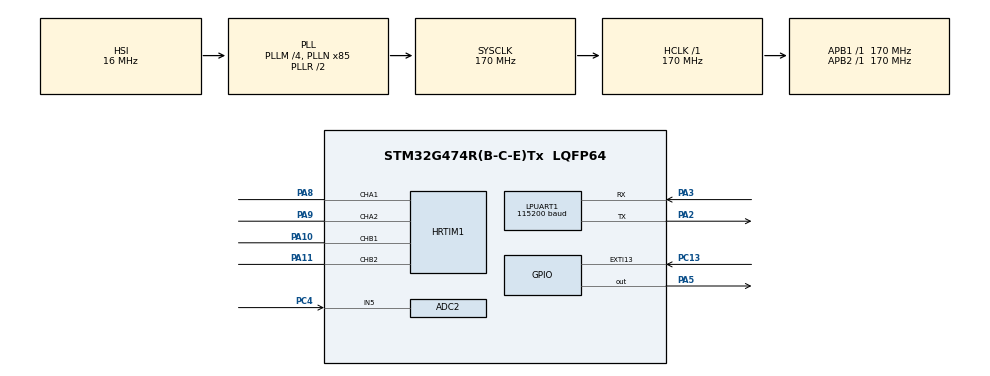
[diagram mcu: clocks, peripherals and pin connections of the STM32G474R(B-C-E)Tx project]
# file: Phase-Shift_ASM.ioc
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ADC2.ClockPrescaler=ADC_CLOCK_ASYNC_DIV2
ADC2.ContinuousConvMode=DISABLE
ADC2.EnableInjectedConversion=ENABLE
ADC2.EnableRegularConversion=DISABLE
ADC2.ExternalTrigInjecConv=ADC_EXTERNALTRIGINJEC_HRTIM_TRG2
ADC2.InjNumberOfConversion=1
ADC2.InjectedChannel-3\#ChannelInjectedConversion=ADC_CHANNEL_5
ADC2.InjectedOffsetNumber-3\#ChannelInjectedConversion=ADC_OFFSET_NONE
ADC2.InjectedRank-3\#ChannelInjectedConversion=1
ADC2.InjectedSamplingTime-3\#ChannelInjectedConversion=ADC_SAMPLETIME_2CYCLES_5
ADC2.Overrun=ADC_OVR_DATA_OVERWRITTEN
ADC2.Rank1_Channel=ADC_CHANNEL_5
ADC2.injectedQueueMode=DISABLE
HRTIM1.ADCTrigger1_Source1=HRTIM_ADCTRIGGEREVENT13_MASTER_PERIOD
HRTIM1.ADCTrigger2_Source1=HRTIM_ADCTRIGGEREVENT24_TIMERA_PERIOD
HRTIM1.ADCTrigger_Id1=__NULL
HRTIM1.ADCTrigger_Id2=HRTIM_ADCTRIGGER_2
HRTIM1.CompareUnit1-MasterTimer=HRTIM_COMPAREUNIT_1
HRTIM1.CompareUnit1-Output_TA1TA2=HRTIM_COMPAREUNIT_1
HRTIM1.CompareUnit1-Output_TB1TB2=HRTIM_COMPAREUNIT_1
HRTIM1.CompareUnit2-MasterTimer=HRTIM_COMPAREUNIT_2
HRTIM1.CompareValue1-MasterTimer=16
HRTIM1.CompareValue2-MasterTimer=54400/4
HRTIM1.DeadTimeInsertion-Output_TA1TA2=HRTIM_TIMDEADTIMEINSERTION_ENABLED
HRTIM1.DeadTimeInsertion-Output_TB1TB2=HRTIM_TIMDEADTIMEINSERTION_ENABLED
HRTIM1.FallingValue-Output_TA1TA2=500
HRTIM1.FallingValue-Output_TB1TB2=500
HRTIM1.InterleavedMode-Output_TA1TA2=HRTIM_INTERLEAVED_MODE_DUAL
HRTIM1.InterleavedMode-Output_TB1TB2=HRTIM_INTERLEAVED_MODE_DUAL
HRTIM1.InterruptRequests1-Output_TA1TA2=HRTIM_TIM_IT_SET1
HRTIM1.InterruptRequests1_Master=HRTIM_MASTER_IT_MREP
HRTIM1.ModeTimeBase-Output_TA1TA2=HRTIM_MODE_SINGLESHOT_RETRIGGERABLE
HRTIM1.ModeTimeBase-Output_TB1TB2=HRTIM_MODE_SINGLESHOT_RETRIGGERABLE
HRTIM1.NumberADCTriggerSource1=1
HRTIM1.NumberADCTriggerSource2=1
HRTIM1.NumberInterruptRequests-Output_TA1TA2=0
HRTIM1.NumberInterruptRequests_Master-MasterTimer=1
HRTIM1.NumberResetSource1-Output_TA1TA2=1
HRTIM1.NumberResetSource1-Output_TB1TB2=1
HRTIM1.NumberResetTrigger-Output_TA1TA2=0
HRTIM1.NumberResetTrigger-Output_TB1TB2=1
HRTIM1.NumberSetSource1-Output_TA1TA2=1
HRTIM1.NumberSetSource1-Output_TB1TB2=1
HRTIM1.Periode_MASTER=54400
HRTIM1.Periode_TA=54400
HRTIM1.Periode_TB=54400
HRTIM1.PreloadEnable-MasterTimer=HRTIM_PRELOAD_ENABLED
HRTIM1.PrescalerDead-Output_TA1TA2=HRTIM_TIMDEADTIME_PRESCALERRATIO_MUL2
HRTIM1.PrescalerDead-Output_TB1TB2=HRTIM_TIMDEADTIME_PRESCALERRATIO_MUL2
HRTIM1.PrescalerRatio_MASTER=HRTIM_PRESCALERRATIO_MUL16
HRTIM1.PrescalerRatio_TA=HRTIM_PRESCALERRATIO_MUL16
HRTIM1.PrescalerRatio_TB=HRTIM_PRESCALERRATIO_MUL16
HRTIM1.RepetitionCounter-MasterTimer=2
HRTIM1.RepetitionCounter-Output_TA1TA2=0
HRTIM1.RepetitionCounter-Output_TB1TB2=0
HRTIM1.RepetitionUpdate-MasterTimer=HRTIM_UPDATEONREPETITION_ENABLED
HRTIM1.RepetitionUpdate-Output_TA1TA2=HRTIM_UPDATEONREPETITION_DISABLED
HRTIM1.ResetOutput1_Source1-Output_TA1TA2=HRTIM_OUTPUTRESET_TIMCMP1
HRTIM1.ResetOutput1_Source1-Output_TB1TB2=HRTIM_OUTPUTRESET_TIMCMP1
HRTIM1.ResetTrigger1-Output_TA1TA2=HRTIM_TIMRESETTRIGGER_MASTER_PER
HRTIM1.ResetTrigger1-Output_TB1TB2=HRTIM_TIMRESETTRIGGER_MASTER_CMP1
HRTIM1.RisingValue-Output_TA1TA2=500
HRTIM1.RisingValue-Output_TB1TB2=500
HRTIM1.SetOutput1_Source1-Output_TA1TA2=HRTIM_OUTPUTSET_MASTERPER
HRTIM1.SetOutput1_Source1-Output_TB1TB2=HRTIM_OUTPUTSET_MASTERCMP1
HRTIM1.Timeout=100
HRTIM1.postscaler1=10
HRTIM1.postscaler2=0
LPUART1.BaudRate=115200
LPUART1.WordLength=UART_WORDLENGTH_8B
Mcu.Family=STM32G4
Mcu.Name=STM32G474R(B-C-E)Tx
Mcu.Package=LQFP64
NVIC.HRTIM1_Master_IRQn=true\:0\:0\:false\:false\:true\:true\:true
NVIC.PriorityGroup=NVIC_PRIORITYGROUP_4
PA10.Mode=Output_TB1TB2
PA10.Signal=HRTIM1_CHB1
PA11.Mode=Output_TB1TB2
PA11.Signal=HRTIM1_CHB2
PA13.Mode=Trace_Asynchronous_SW
PA13.Signal=SYS_JTMS-SWDIO
PA14.Mode=Trace_Asynchronous_SW
PA14.Signal=SYS_JTCK-SWCLK
PA2.GPIO_Mode=GPIO_MODE_AF_PP
PA2.GPIO_PuPd=GPIO_NOPULL
PA2.GPIO_Speed=GPIO_SPEED_FREQ_LOW
PA2.Mode=Asynchronous
PA2.Signal=LPUART1_TX
PA3.GPIO_Mode=GPIO_MODE_AF_PP
PA3.GPIO_PuPd=GPIO_NOPULL
PA3.GPIO_Speed=GPIO_SPEED_FREQ_LOW
PA3.Mode=Asynchronous
PA3.Signal=LPUART1_RX
PA5.GPIO_ModeDefaultOutputPP=GPIO_MODE_OUTPUT_PP
PA5.GPIO_PuPd=GPIO_NOPULL
PA5.GPIO_Speed=GPIO_SPEED_FREQ_LOW
PA5.PinState=GPIO_PIN_RESET
PA5.Signal=GPIO_Output
PA8.Mode=Output_TA1TA2
PA8.Signal=HRTIM1_CHA1
PA9.Mode=Output_TA1TA2
PA9.Signal=HRTIM1_CHA2
PB3.Mode=Trace_Asynchronous_SW
PB3.Signal=SYS_JTDO-SWO
PC13.GPIO_ModeDefaultEXTI=GPIO_MODE_IT_RISING
PC13.GPIO_PuPd=GPIO_NOPULL
PC13.Signal=GPXTI13
PC14-OSC32_IN.Mode=LSE-External-Oscillator
PC14-OSC32_IN.Signal=RCC_OSC32_IN
PC15-OSC32_OUT.Mode=LSE-External-Oscillator
PC15-OSC32_OUT.Signal=RCC_OSC32_OUT
PC4.Mode=IN5-Single-Ended
PC4.Signal=ADC2_IN5
PF0-OSC_IN.Mode=HSE-External-Oscillator
PF0-OSC_IN.Signal=RCC_OSC_IN
PF1-OSC_OUT.Mode=HSE-External-Oscillator
PF1-OSC_OUT.Signal=RCC_OSC_OUT
ProjectManager.HeapSize=0x200
ProjectManager.StackSize=0x400
ProjectManager.TargetToolchain=STM32CubeIDE
RCC.ADC12Freq_Value=170000000
RCC.ADC345Freq_Value=170000000
RCC.AHBFreq_Value=170000000
RCC.APB1Freq_Value=170000000
RCC.APB1TimFreq_Value=170000000
RCC.APB2Freq_Value=170000000
RCC.APB2TimFreq_Value=170000000
RCC.CortexFreq_Value=170000000
RCC.EXTERNAL_CLOCK_VALUE=12288000
RCC.HCLKFreq_Value=170000000
RCC.HSE_VALUE=24000000
RCC.HSI48_VALUE=48000000
RCC.HSI_VALUE=16000000
RCC.PLLM=RCC_PLLM_DIV4
RCC.PLLN=85
RCC.RTCClockSelection=RCC_RTCCLKSOURCE_LSE
RCC.SYSCLKFreq_VALUE=170000000
RCC.SYSCLKSource=RCC_SYSCLKSOURCE_PLLCLK
RCC.USBFreq_Value=170000000
RCC.VCOOutputFreq_Value=340000000
VP_HRTIM1_VS_hrtimMasterTimerNoOutput.Mode=MasterTimer
VP_SYS_VS_DBSignals.Mode=DisableDeadBatterySignals
board=NUCLEO-G474RE

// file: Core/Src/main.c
/* USER CODE END Header */

#include "main.h"

/* USER CODE BEGIN PD */

// use and comment only one VOUT_TARGET
#define VOUT_TARGET_V   3 // in Volts
//#define VOUT_TARGET_mV  3000 // in mV
#define VREF  3300 // mV
#define RUP   2000 // ohms
#define RDOWN 2000 // ohms
//#define MAX_PHASE 27200 // half of the period
#define MAX_PHASE 26500
#define MIN_PHASE 16
#define SAT_LIMIT 21888
#define NUM_REPETITION 0

/* USER CODE END PD */

ADC_HandleTypeDef hadc2;

HRTIM_HandleTypeDef hhrtim1;

UART_HandleTypeDef hlpuart1;

/* USER CODE BEGIN PV */

volatile int32_t VoutFeedback_32bit;
volatile int16_t VoutFeedback, VoutTarget;
volatile uint16_t VoutMeasured;
static uint16_t phase_cntr, debug_phase;
static int32_t Kp;
static int32_t Ki;
static int32_t Kd;
static int8_t operationmode, direction = 0, repetition_cntr = 0;
static int32_t Int_term_Buck;
static uint32_t CTMin;
static uint32_t CTMax;
//volatile uint32_t VoutConversion;

volatile int32_t seterr, pid_out, pid_out_last, pid_out_diff;
volatile int32_t error, errorProp;
volatile int32_t last_error;
volatile int32_t errorSum;
volatile int32_t errorRate;
//uint16_t SPI_msg[5];

/* USER CODE END PV */

void SystemClock_Config(void);
static void MX_GPIO_Init(void);
static void MX_LPUART1_UART_Init(void);
static void MX_HRTIM1_Init(void);
static void MX_ADC2_Init(void);
/* USER CODE BEGIN PFP */

static void HRTIM1_Start_Output(void);

/* USER CODE END PFP */

int main(void)
{

  /* MCU Configuration--------------------------------------------------------*/

  /* Reset of all peripherals, Initializes the Flash interface and the Systick. */
  HAL_Init();

  /* Configure the system clock */
  SystemClock_Config();

  /* Initialize all configured peripherals */
  MX_GPIO_Init();
  MX_LPUART1_UART_Init();
  MX_HRTIM1_Init();
  MX_ADC2_Init();
  /* USER CODE BEGIN 2 */

#ifdef VOUT_TARGET_mV
  {
	  VoutFeedback_32bit = (uint16_t) (VOUT_TARGET_mV * RDOWN / ( RUP + RDOWN ));
	  VoutFeedback_32bit = (VoutFeedback_32bit * 0x1000 ) / VREF;
	  VoutFeedback = (uint16_t) VoutFeedback_32bit ;
  }
#else
  {
	  VoutFeedback_32bit = (uint16_t) (VOUT_TARGET_V * 1000 * RDOWN / ( RUP + RDOWN ));
	  VoutFeedback_32bit = (VoutFeedback_32bit * 0x1000 ) / VREF;
	  VoutFeedback = (uint16_t) VoutFeedback_32bit ;
  }
#endif

  if (VoutFeedback >= 2482)
  	  while(1)
  		  {
			  HAL_GPIO_TogglePin(GPIOA, GPIO_PIN_5);
			  HAL_Delay(300);
  		  }

  /* Reset integral terms for PI */
  Int_term_Buck = 0;

  /* Reset Counters Min and Max */
  CTMax = 0;
  CTMin = 0;

  /* Set Proportional and Integral constant terms*/
  Ki = 1;
  Kp = 100;
  Kd = 100;

  phase_cntr = 16; // min phase

  // 1.6kW Main Board
  //debug_phase = 1090; // 120V @ 1mA
  //debug_phase = 1590; // 100V @ 50mA
  //debug_phase = 2590; // 108V @ 100mA
  //debug_phase = 3590; // 108V @ 100mA
  //debug_phase = 4590; // 148V @ 150mA
  //debug_phase = 5590; // 130V @ 200mA
  //debug_phase = 7590; // 143V @ 300mA
  //debug_phase = 10590; // 181V @ 500mA
  //debug_phase = 13590; // 227V @ 500mA, 176V @ 600mA
  //debug_phase = 15000; // 192V @ 600mA, ADC = 2616
  //debug_phase = 17000; // 201V @ 1200mA, 193V @ 2000mA, 188V @ 2500mA, 183V @ 3A
					   // 174V @ 4A, 165V @ 5A, 155V @ 6A
  	  	  	  	  	   // 180V = 1890 @ 3.24A
  	  	  	  	  	   // 170V = 1520 @ 4.31A
  	  	  	  	  	   // 190V = 2535 @ 2.26A
  //debug_phase = 20000; // 241V @ 1A, 181V @ 7A, 171V @ 8A
  	  	  	  	  	   // 236V = 3100 @ 1.4A
  	  	  	  	  	   // 220V = 3077 @ 3.0A
  	  	  	  	  	   // 190V = 2700 @ 6A
  	  	  	  	  	   // 180V = 2400 @ 7A
  //VoutTarget = 2400; // 180

  // Low power Board
  /*
  debug_phase = 3000; // Vout = 259mV / Vfeed = 129mV (150)
  debug_phase = 10000; // Vout = 2.24V / Vfeed = 1.12V (1348)
  debug_phase = 13000; // Vout = 3.20V / Vfeed = 1.61V (1928)
  debug_phase = 15000; // Vout = 3.92V / Vfeed = 1.96V (2389)
  debug_phase = 16000; // Vout = 4.30V / Vfeed = 2.14V (2616)
  debug_phase = 17000; // Vout = 4.70V / Vfeed = 2.33V (2849)
  debug_phase = 19000; // Vout = 5.44V / Vfeed = 2.71V (3355)
  debug_phase = 20000; // Vout = 5.88V / Vfeed = 2.88V (3627)
  VoutTarget = 1948; // 3.07V
  VoutTarget = 2022; // 3.16V
  VoutTarget = 2333; // 3.66V
  VoutTarget = 2389; // 3.89
  VoutTarget = 2740; // 4.4V
  VoutTarget = 2828; // 4.52V
  VoutTarget = 2849; // 4.64
  VoutTarget = 3049; // 4.64
  VoutTarget = 3009; // 4.76V
  VoutTarget = 3157; // 5.00V
  VoutTarget = 3196; // 5.11V
  VoutTarget = 3215; // 5.16V
  */

  /*
  operationmode == 0 // start-up
  operationmode == 1 // close loop, dont use
  operationmode == 2 // start up until vfeed
  operationmode == 3 // debug = slowly increase duty/phase until a certain value
  operationmode == 4 // debug = fix dutycycle/phase
  operationmode == 9 // phase up/down
  */
  operationmode = 9;

  debug_phase = 16; // start and minimum, already in the IOC
  VoutTarget = 3157; // 5.00V
  VoutTarget = 1948; // 3.07V

  HRTIM1_Start_Output();

  HAL_Delay(5000);
  //debug_phase = 21800; // Vout = 5.88V / Vfeed = 2.88V (3627)

  /* USER CODE END 2 */

  /* Infinite loop */
  while (1)
  {

  }
}

void SystemClock_Config(void)
{
  RCC_OscInitTypeDef RCC_OscInitStruct = {0};
  RCC_ClkInitTypeDef RCC_ClkInitStruct = {0};
  RCC_PeriphCLKInitTypeDef PeriphClkInit = {0};

  /** Configure the main internal regulator output voltage
  */
  HAL_PWREx_ControlVoltageScaling(PWR_REGULATOR_VOLTAGE_SCALE1_BOOST);
  /** Initializes the CPU, AHB and APB busses clocks
  */
  RCC_OscInitStruct.OscillatorType = RCC_OSCILLATORTYPE_HSI;
  RCC_OscInitStruct.HSIState = RCC_HSI_ON;
  RCC_OscInitStruct.HSICalibrationValue = RCC_HSICALIBRATION_DEFAULT;
  RCC_OscInitStruct.PLL.PLLState = RCC_PLL_ON;
  RCC_OscInitStruct.PLL.PLLSource = RCC_PLLSOURCE_HSI;
  RCC_OscInitStruct.PLL.PLLM = RCC_PLLM_DIV4;
  RCC_OscInitStruct.PLL.PLLN = 85;
  RCC_OscInitStruct.PLL.PLLP = RCC_PLLP_DIV2;
  RCC_OscInitStruct.PLL.PLLQ = RCC_PLLQ_DIV2;
  RCC_OscInitStruct.PLL.PLLR = RCC_PLLR_DIV2;
  if (HAL_RCC_OscConfig(&RCC_OscInitStruct) != HAL_OK)
  {
    Error_Handler();
  }
  /** Initializes the CPU, AHB and APB busses clocks
  */
  RCC_ClkInitStruct.ClockType = RCC_CLOCKTYPE_HCLK|RCC_CLOCKTYPE_SYSCLK
                              |RCC_CLOCKTYPE_PCLK1|RCC_CLOCKTYPE_PCLK2;
  RCC_ClkInitStruct.SYSCLKSource = RCC_SYSCLKSOURCE_PLLCLK;
  RCC_ClkInitStruct.AHBCLKDivider = RCC_SYSCLK_DIV1;
  RCC_ClkInitStruct.APB1CLKDivider = RCC_HCLK_DIV1;
  RCC_ClkInitStruct.APB2CLKDivider = RCC_HCLK_DIV1;

  if (HAL_RCC_ClockConfig(&RCC_ClkInitStruct, FLASH_LATENCY_8) != HAL_OK)
  {
    Error_Handler();
  }
  /** Initializes the peripherals clocks
  */
  PeriphClkInit.PeriphClockSelection = RCC_PERIPHCLK_LPUART1|RCC_PERIPHCLK_ADC12;
  PeriphClkInit.Lpuart1ClockSelection = RCC_LPUART1CLKSOURCE_PCLK1;
  PeriphClkInit.Adc12ClockSelection = RCC_ADC12CLKSOURCE_SYSCLK;
  if (HAL_RCCEx_PeriphCLKConfig(&PeriphClkInit) != HAL_OK)
  {
    Error_Handler();
  }
}

static void MX_ADC2_Init(void)
{

  ADC_InjectionConfTypeDef sConfigInjected = {0};

  /** Common config
  */
  hadc2.Instance = ADC2;
  hadc2.Init.ClockPrescaler = ADC_CLOCK_ASYNC_DIV4;
  hadc2.Init.Resolution = ADC_RESOLUTION_12B;
  hadc2.Init.DataAlign = ADC_DATAALIGN_RIGHT;
  hadc2.Init.GainCompensation = 0;
  hadc2.Init.ScanConvMode = ADC_SCAN_DISABLE;
  hadc2.Init.EOCSelection = ADC_EOC_SINGLE_CONV;
  hadc2.Init.LowPowerAutoWait = DISABLE;
  hadc2.Init.ContinuousConvMode = DISABLE;
  hadc2.Init.NbrOfConversion = 1;
  hadc2.Init.DiscontinuousConvMode = DISABLE;
  hadc2.Init.DMAContinuousRequests = DISABLE;
  hadc2.Init.Overrun = ADC_OVR_DATA_OVERWRITTEN;
  hadc2.Init.OversamplingMode = DISABLE;
  if (HAL_ADC_Init(&hadc2) != HAL_OK)
  {
    Error_Handler();
  }
  /** Configure Injected Channel
  */
  sConfigInjected.InjectedChannel = ADC_CHANNEL_5;
  sConfigInjected.InjectedRank = ADC_INJECTED_RANK_1;
  sConfigInjected.InjectedSamplingTime = ADC_SAMPLETIME_2CYCLES_5;
  sConfigInjected.InjectedSingleDiff = ADC_SINGLE_ENDED;
  sConfigInjected.InjectedOffsetNumber = ADC_OFFSET_NONE;
  sConfigInjected.InjectedOffset = 0;
  sConfigInjected.InjectedNbrOfConversion = 1;
  sConfigInjected.InjectedDiscontinuousConvMode = DISABLE;
  sConfigInjected.AutoInjectedConv = DISABLE;
  sConfigInjected.QueueInjectedContext = DISABLE;
  sConfigInjected.ExternalTrigInjecConv = ADC_EXTERNALTRIGINJEC_HRTIM_TRG2;
  sConfigInjected.ExternalTrigInjecConvEdge = ADC_EXTERNALTRIGINJECCONV_EDGE_RISING;
  sConfigInjected.InjecOversamplingMode = DISABLE;
  if (HAL_ADCEx_InjectedConfigChannel(&hadc2, &sConfigInjected) != HAL_OK)
  {
    Error_Handler();
  }
  /* USER CODE BEGIN ADC2_Init 2 */

  /* Run the ADC calibration in single-ended mode */
  HAL_ADCEx_Calibration_Start(&hadc2, ADC_SINGLE_ENDED);
  /* Start ADC1 Injected Conversions */
  HAL_ADCEx_InjectedStart_IT(&hadc2);

  /* USER CODE END ADC2_Init 2 */

}

static void MX_HRTIM1_Init(void)
{

  HRTIM_ADCTriggerCfgTypeDef pADCTriggerCfg = {0};
  HRTIM_TimeBaseCfgTypeDef pTimeBaseCfg = {0};
  HRTIM_TimerCfgTypeDef pTimerCfg = {0};
  HRTIM_CompareCfgTypeDef pCompareCfg = {0};
  HRTIM_TimerCtlTypeDef pTimerCtl = {0};
  HRTIM_DeadTimeCfgTypeDef pDeadTimeCfg = {0};
  HRTIM_OutputCfgTypeDef pOutputCfg = {0};

  hhrtim1.Instance = HRTIM1;
  hhrtim1.Init.HRTIMInterruptResquests = HRTIM_IT_NONE;
  hhrtim1.Init.SyncOptions = HRTIM_SYNCOPTION_NONE;
  if (HAL_HRTIM_Init(&hhrtim1) != HAL_OK)
  {
    Error_Handler();
  }
  if (HAL_HRTIM_DLLCalibrationStart(&hhrtim1, HRTIM_CALIBRATIONRATE_3) != HAL_OK)
  {
    Error_Handler();
  }
  if (HAL_HRTIM_PollForDLLCalibration(&hhrtim1, 100) != HAL_OK)
  {
    Error_Handler();
  }
  pADCTriggerCfg.UpdateSource = HRTIM_ADCTRIGGERUPDATE_MASTER;
  pADCTriggerCfg.Trigger = HRTIM_ADCTRIGGEREVENT24_MASTER_CMP2;
  if (HAL_HRTIM_ADCTriggerConfig(&hhrtim1, HRTIM_ADCTRIGGER_2, &pADCTriggerCfg) != HAL_OK)
  {
    Error_Handler();
  }
  if (HAL_HRTIM_ADCPostScalerConfig(&hhrtim1, HRTIM_ADCTRIGGER_2, 0) != HAL_OK)
  {
    Error_Handler();
  }
  pTimeBaseCfg.Period = 54400;
  pTimeBaseCfg.RepetitionCounter = 1;
  pTimeBaseCfg.PrescalerRatio = HRTIM_PRESCALERRATIO_MUL16;
  pTimeBaseCfg.Mode = HRTIM_MODE_CONTINUOUS;
  if (HAL_HRTIM_TimeBaseConfig(&hhrtim1, HRTIM_TIMERINDEX_MASTER, &pTimeBaseCfg) != HAL_OK)
  {
    Error_Handler();
  }
  pTimerCfg.InterruptRequests = HRTIM_MASTER_IT_MREP;
  pTimerCfg.DMARequests = HRTIM_MASTER_DMA_NONE;
  pTimerCfg.DMASrcAddress = 0x0000;
  pTimerCfg.DMADstAddress = 0x0000;
  pTimerCfg.DMASize = 0x1;
  pTimerCfg.HalfModeEnable = HRTIM_HALFMODE_DISABLED;
  pTimerCfg.InterleavedMode = HRTIM_INTERLEAVED_MODE_DISABLED;
  pTimerCfg.StartOnSync = HRTIM_SYNCSTART_DISABLED;
  pTimerCfg.ResetOnSync = HRTIM_SYNCRESET_DISABLED;
  pTimerCfg.DACSynchro = HRTIM_DACSYNC_NONE;
  pTimerCfg.PreloadEnable = HRTIM_PRELOAD_DISABLED;
  pTimerCfg.UpdateGating = HRTIM_UPDATEGATING_INDEPENDENT;
  pTimerCfg.BurstMode = HRTIM_TIMERBURSTMODE_MAINTAINCLOCK;
  pTimerCfg.RepetitionUpdate = HRTIM_UPDATEONREPETITION_ENABLED;
  pTimerCfg.ReSyncUpdate = HRTIM_TIMERESYNC_UPDATE_UNCONDITIONAL;
  if (HAL_HRTIM_WaveformTimerConfig(&hhrtim1, HRTIM_TIMERINDEX_MASTER, &pTimerCfg) != HAL_OK)
  {
    Error_Handler();
  }
  pCompareCfg.CompareValue = 16;
  if (HAL_HRTIM_WaveformCompareConfig(&hhrtim1, HRTIM_TIMERINDEX_MASTER, HRTIM_COMPAREUNIT_1, &pCompareCfg) != HAL_OK)
  {
    Error_Handler();
  }
  pCompareCfg.CompareValue = 1000;
  if (HAL_HRTIM_WaveformCompareConfig(&hhrtim1, HRTIM_TIMERINDEX_MASTER, HRTIM_COMPAREUNIT_2, &pCompareCfg) != HAL_OK)
  {
    Error_Handler();
  }
  pTimeBaseCfg.RepetitionCounter = 0;
  if (HAL_HRTIM_TimeBaseConfig(&hhrtim1, HRTIM_TIMERINDEX_TIMER_A, &pTimeBaseCfg) != HAL_OK)
  {
    Error_Handler();
  }
  pTimerCtl.UpDownMode = HRTIM_TIMERUPDOWNMODE_UP;
  pTimerCtl.GreaterCMP1 = HRTIM_TIMERGTCMP1_EQUAL;
  pTimerCtl.DualChannelDacEnable = HRTIM_TIMER_DCDE_DISABLED;
  if (HAL_HRTIM_WaveformTimerControl(&hhrtim1, HRTIM_TIMERINDEX_TIMER_A, &pTimerCtl) != HAL_OK)
  {
    Error_Handler();
  }
  pTimerCfg.InterruptRequests = HRTIM_TIM_IT_NONE;
  pTimerCfg.DMARequests = HRTIM_TIM_DMA_NONE;
  pTimerCfg.DMASrcAddress = 0x0000;
  pTimerCfg.DMADstAddress = 0x0000;
  pTimerCfg.DMASize = 0x1;
  pTimerCfg.InterleavedMode = HRTIM_INTERLEAVED_MODE_DUAL;
  pTimerCfg.PushPull = HRTIM_TIMPUSHPULLMODE_DISABLED;
  pTimerCfg.FaultEnable = HRTIM_TIMFAULTENABLE_NONE;
  pTimerCfg.FaultLock = HRTIM_TIMFAULTLOCK_READWRITE;
  pTimerCfg.DeadTimeInsertion = HRTIM_TIMDEADTIMEINSERTION_ENABLED;
  pTimerCfg.DelayedProtectionMode = HRTIM_TIMER_A_B_C_DELAYEDPROTECTION_DISABLED;
  pTimerCfg.UpdateTrigger = HRTIM_TIMUPDATETRIGGER_NONE;
  pTimerCfg.ResetTrigger = HRTIM_TIMRESETTRIGGER_MASTER_PER;
  pTimerCfg.ResetUpdate = HRTIM_TIMUPDATEONRESET_ENABLED;
  if (HAL_HRTIM_WaveformTimerConfig(&hhrtim1, HRTIM_TIMERINDEX_TIMER_A, &pTimerCfg) != HAL_OK)
  {
    Error_Handler();
  }
  pTimerCfg.DMASrcAddress = 0x0000;
  pTimerCfg.DMADstAddress = 0x0000;
  pTimerCfg.DMASize = 0x1;
  pTimerCfg.ResetTrigger = HRTIM_TIMRESETTRIGGER_MASTER_PER|HRTIM_TIMRESETTRIGGER_MASTER_CMP1;
  if (HAL_HRTIM_WaveformTimerConfig(&hhrtim1, HRTIM_TIMERINDEX_TIMER_B, &pTimerCfg) != HAL_OK)
  {
    Error_Handler();
  }
  pDeadTimeCfg.Prescaler = HRTIM_TIMDEADTIME_PRESCALERRATIO_MUL4;
  pDeadTimeCfg.RisingValue = 500;
  pDeadTimeCfg.RisingSign = HRTIM_TIMDEADTIME_RISINGSIGN_POSITIVE;
  pDeadTimeCfg.RisingLock = HRTIM_TIMDEADTIME_RISINGLOCK_WRITE;
  pDeadTimeCfg.RisingSignLock = HRTIM_TIMDEADTIME_RISINGSIGNLOCK_WRITE;
  pDeadTimeCfg.FallingValue = 500;
  pDeadTimeCfg.FallingSign = HRTIM_TIMDEADTIME_FALLINGSIGN_POSITIVE;
  pDeadTimeCfg.FallingLock = HRTIM_TIMDEADTIME_FALLINGLOCK_WRITE;
  pDeadTimeCfg.FallingSignLock = HRTIM_TIMDEADTIME_FALLINGSIGNLOCK_WRITE;
  if (HAL_HRTIM_DeadTimeConfig(&hhrtim1, HRTIM_TIMERINDEX_TIMER_A, &pDeadTimeCfg) != HAL_OK)
  {
    Error_Handler();
  }
  if (HAL_HRTIM_DeadTimeConfig(&hhrtim1, HRTIM_TIMERINDEX_TIMER_B, &pDeadTimeCfg) != HAL_OK)
  {
    Error_Handler();
  }
  pOutputCfg.Polarity = HRTIM_OUTPUTPOLARITY_HIGH;
  pOutputCfg.SetSource = HRTIM_OUTPUTSET_TIMPER;
  pOutputCfg.ResetSource = HRTIM_OUTPUTRESET_TIMCMP1;
  pOutputCfg.IdleMode = HRTIM_OUTPUTIDLEMODE_NONE;
  pOutputCfg.IdleLevel = HRTIM_OUTPUTIDLELEVEL_INACTIVE;
  pOutputCfg.FaultLevel = HRTIM_OUTPUTFAULTLEVEL_NONE;
  pOutputCfg.ChopperModeEnable = HRTIM_OUTPUTCHOPPERMODE_DISABLED;
  pOutputCfg.BurstModeEntryDelayed = HRTIM_OUTPUTBURSTMODEENTRY_REGULAR;
  if (HAL_HRTIM_WaveformOutputConfig(&hhrtim1, HRTIM_TIMERINDEX_TIMER_A, HRTIM_OUTPUT_TA1, &pOutputCfg) != HAL_OK)
  {
    Error_Handler();
  }
  pOutputCfg.SetSource = HRTIM_OUTPUTSET_MASTERCMP1;
  if (HAL_HRTIM_WaveformOutputConfig(&hhrtim1, HRTIM_TIMERINDEX_TIMER_B, HRTIM_OUTPUT_TB1, &pOutputCfg) != HAL_OK)
  {
    Error_Handler();
  }
  pOutputCfg.SetSource = HRTIM_OUTPUTSET_NONE;
  pOutputCfg.ResetSource = HRTIM_OUTPUTRESET_NONE;
  if (HAL_HRTIM_WaveformOutputConfig(&hhrtim1, HRTIM_TIMERINDEX_TIMER_A, HRTIM_OUTPUT_TA2, &pOutputCfg) != HAL_OK)
  {
    Error_Handler();
  }
  if (HAL_HRTIM_WaveformOutputConfig(&hhrtim1, HRTIM_TIMERINDEX_TIMER_B, HRTIM_OUTPUT_TB2, &pOutputCfg) != HAL_OK)
  {
    Error_Handler();
  }
  if (HAL_HRTIM_TimeBaseConfig(&hhrtim1, HRTIM_TIMERINDEX_TIMER_B, &pTimeBaseCfg) != HAL_OK)
  {
    Error_Handler();
  }
  if (HAL_HRTIM_WaveformTimerControl(&hhrtim1, HRTIM_TIMERINDEX_TIMER_B, &pTimerCtl) != HAL_OK)
  {
    Error_Handler();
  }
  HAL_HRTIM_MspPostInit(&hhrtim1);

}

static void MX_LPUART1_UART_Init(void)
{

  hlpuart1.Instance = LPUART1;
  hlpuart1.Init.BaudRate = 115200;
  hlpuart1.Init.WordLength = UART_WORDLENGTH_8B;
  hlpuart1.Init.StopBits = UART_STOPBITS_1;
  hlpuart1.Init.Parity = UART_PARITY_NONE;
  hlpuart1.Init.Mode = UART_MODE_TX_RX;
  hlpuart1.Init.HwFlowCtl = UART_HWCONTROL_NONE;
  hlpuart1.Init.OneBitSampling = UART_ONE_BIT_SAMPLE_DISABLE;
  hlpuart1.AdvancedInit.AdvFeatureInit = UART_ADVFEATURE_NO_INIT;
  if (HAL_UART_Init(&hlpuart1) != HAL_OK)
  {
    Error_Handler();
  }
  if (HAL_UARTEx_SetTxFifoThreshold(&hlpuart1, UART_TXFIFO_THRESHOLD_1_8) != HAL_OK)
  {
    Error_Handler();
  }
  if (HAL_UARTEx_SetRxFifoThreshold(&hlpuart1, UART_RXFIFO_THRESHOLD_1_8) != HAL_OK)
  {
    Error_Handler();
  }
  if (HAL_UARTEx_DisableFifoMode(&hlpuart1) != HAL_OK)
  {
    Error_Handler();
  }

}

static void MX_GPIO_Init(void)
{
  GPIO_InitTypeDef GPIO_InitStruct = {0};

  /* GPIO Ports Clock Enable */
  __HAL_RCC_GPIOC_CLK_ENABLE();
  __HAL_RCC_GPIOF_CLK_ENABLE();
  __HAL_RCC_GPIOA_CLK_ENABLE();
  __HAL_RCC_GPIOB_CLK_ENABLE();

  /*Configure GPIO pin Output Level */
  HAL_GPIO_WritePin(GPIOA, GPIO_PIN_5, GPIO_PIN_RESET);

  /*Configure GPIO pin : PC13 */
  GPIO_InitStruct.Pin = GPIO_PIN_13;
  GPIO_InitStruct.Mode = GPIO_MODE_IT_RISING;
  GPIO_InitStruct.Pull = GPIO_NOPULL;
  HAL_GPIO_Init(GPIOC, &GPIO_InitStruct);

  /*Configure GPIO pin : PA5 */
  GPIO_InitStruct.Pin = GPIO_PIN_5;
  GPIO_InitStruct.Mode = GPIO_MODE_OUTPUT_PP;
  GPIO_InitStruct.Pull = GPIO_NOPULL;
  GPIO_InitStruct.Speed = GPIO_SPEED_FREQ_LOW;
  HAL_GPIO_Init(GPIOA, &GPIO_InitStruct);

}

/* USER CODE BEGIN 4 */

static void HRTIM1_Start_Output(void)
{
	hhrtim1.Instance = HRTIM1;

	HAL_HRTIM_WaveformOutputStart(&hhrtim1, HRTIM_OUTPUT_TA1 | HRTIM_OUTPUT_TA2 | HRTIM_OUTPUT_TB1 | HRTIM_OUTPUT_TB2);
	HAL_HRTIM_WaveformCountStart_IT(&hhrtim1, HRTIM_TIMERID_MASTER | HRTIM_TIMERID_TIMER_A | HRTIM_TIMERID_TIMER_B);

}

int32_t my_PID_Controller(void)
{

  VoutMeasured = HAL_ADCEx_InjectedGetValue(&hadc2, ADC_INJECTED_RANK_1);
  last_error = error;
  error = (uint16_t) VoutTarget - (uint16_t ) VoutMeasured;

  if (operationmode == 0) // start-up
  {
	  phase_cntr++;
	  pid_out = phase_cntr;
	  if (error <= 5)
		  operationmode = 1;
  }

  if (operationmode == 1) // close loop
  {

	errorSum = errorSum + error * 2;
	errorRate = (error - last_error)/2;

	// check if the change is so much to prevent oscillations, see below "pid_out_diff"
	pid_out_last = pid_out;

	// from FW
	seterr = (-Kp * error) / 200;
	Int_term_Buck = Int_term_Buck + ((-Ki * error) / 200);
	pid_out = seterr + Int_term_Buck;

	// check if the change is so much to prevent oscillations, see above "pid_out_last"
	pid_out_diff = pid_out - pid_out_last;

	// this supposedly prevent sudden change in duty/phase
//	    if (pid_out_diff > MAX_DUTY_INC)
//	    {
//	    	pid_out += MAX_DUTY_INC;
//	    } else if (pid_out_diff > MAX_DUTY_INC)
//	    {
//	    	pid_out -= MAX_DUTY_INC;
//	    }

  }

  if (operationmode == 2) // start up until vfeed
  {
	  if (error >= 5)
	  {
		  phase_cntr++;
		  pid_out = phase_cntr;
		  // do not use below
//		  if ( phase_cntr < debug_phase)
//		  {
//			  phase_cntr++;
//			  pid_out = phase_cntr;
//		  }
	  } else
		  while(1);

  }

  if (operationmode == 3) // debug = slowly increase duty/phase until a certain value
  {
	  if ( phase_cntr < debug_phase)
	  {
		  phase_cntr++;
		  pid_out = phase_cntr;
	  }
  }

  if (operationmode == 4) // debug = fix duty cycle/phase
  {
	  pid_out = debug_phase;
  }

  if (operationmode == 9) // phase up/down
  {

	  if (repetition_cntr != NUM_REPETITION)
	  {
		  repetition_cntr++;
	  } else
	  {
		  if (direction == 0)
		  {
			  phase_cntr++;
			  if ( phase_cntr >= MAX_PHASE)
			  {
				  direction = 1;
				  //HAL_HRTIM_WaveformCountStop_IT(&hhrtim1, HRTIM_TIMERID_MASTER | HRTIM_TIMERID_TIMER_A | HRTIM_TIMERID_TIMER_B);
			  }
			  pid_out = phase_cntr;
		  }

		  if (direction == 1)
		  {
			  phase_cntr--;
			  if ( phase_cntr <= MIN_PHASE)
			  {
				  direction = 0;
			  }
			  pid_out = phase_cntr;
		  }

		  repetition_cntr = 0;
	  }
  }

  // DAC debug
//  HAL_DAC_SetValue(&hdac1, DAC_CHANNEL_1, DAC_ALIGN_12B_R, VoutConversion);	// PA4
//  HAL_DAC_SetValue(&hdac1, DAC_CHANNEL_2, DAC_ALIGN_12B_R, pid_out+2048);		// PA5
//  HAL_DAC_SetValue(&hdac2, DAC_CHANNEL_1, DAC_ALIGN_12B_R, errorSum>>2);	// PA6

  return  pid_out;
}

/* USER CODE END 4 */

void Error_Handler(void)
{
}

/************************ (C) COPYRIGHT STMicroelectronics *****END OF FILE****/
